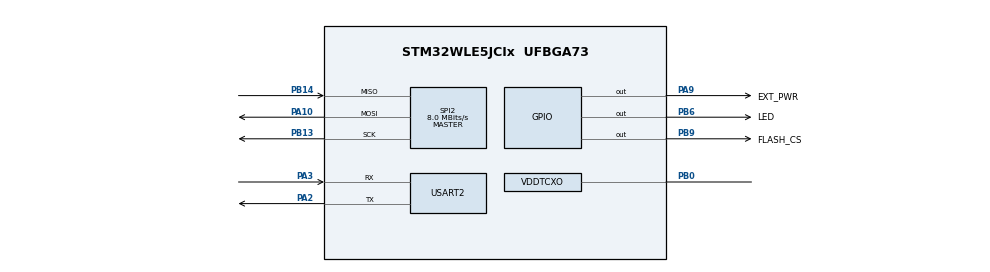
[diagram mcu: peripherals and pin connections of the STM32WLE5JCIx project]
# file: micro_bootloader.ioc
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Mcu.Family=STM32WL
Mcu.Name=STM32WLE5JCIx
Mcu.Package=UFBGA73
NVIC.PriorityGroup=NVIC_PRIORITYGROUP_4
NVIC.USART2_IRQn=true\:0\:0\:false\:false\:true\:true\:true\:true
OSC_IN.Mode=HSE-TCXO
OSC_IN.Signal=RCC_OSC_IN
PA10.GPIO_PuPd=GPIO_PULLUP
PA10.Mode=Full_Duplex_Master
PA10.Signal=SPI2_MOSI
PA13.Mode=Serial_Wire
PA13.Signal=DEBUG_JTMS-SWDIO
PA14.Mode=Serial_Wire
PA14.Signal=DEBUG_JTCK-SWCLK
PA2.Mode=Asynchronous
PA2.Signal=USART2_TX
PA3.Mode=Asynchronous
PA3.Signal=USART2_RX
PA9.GPIO_Label=EXT_PWR
PA9.Signal=GPIO_Output
PB0-VDD_TCXO.Mode=HSE-TCXO
PB0-VDD_TCXO.Signal=VDDTCXO
PB13.GPIO_PuPd=GPIO_PULLUP
PB13.Mode=Full_Duplex_Master
PB13.Signal=SPI2_SCK
PB14.GPIO_PuPd=GPIO_PULLUP
PB14.Mode=Full_Duplex_Master
PB14.Signal=SPI2_MISO
PB6.GPIO_Label=LED
PB6.Signal=GPIO_Output
PB9.GPIO_Label=FLASH_CS
PB9.Signal=GPIO_Output
PC14-OSC32_IN.Mode=LSE-External-Oscillator
PC14-OSC32_IN.Signal=RCC_OSC32_IN
PC15-OSC32_OUT.Mode=LSE-External-Oscillator
PC15-OSC32_OUT.Signal=RCC_OSC32_OUT
ProjectManager.HeapSize=0x200
ProjectManager.StackSize=0x400
ProjectManager.TargetToolchain=STM32CubeIDE
RCC.AHBFreq_Value=48000000
RCC.APB1Freq_Value=48000000
RCC.APB1TimFreq_Value=48000000
RCC.APB2Freq_Value=48000000
RCC.APB2TimFreq_Value=48000000
RCC.APB3Freq_Value=48000000
RCC.CortexFreq_Value=48000000
RCC.HCLKFreq_Value=48000000
RCC.HSE_VALUE=8000000
RCC.HSI_VALUE=16000000
RCC.LSE_VALUE=32768
RCC.MSIClockRange=RCC_MSIRANGE_11
RCC.SYSCLKFreq_VALUE=48000000
RCC.VCOOutputFreq_Value=384000000
RTC.Alarm-Alarm\ A=RTC_ALARM_A
SPI2.CalculateBaudRate=8.0 MBits/s
SPI2.DataSize=SPI_DATASIZE_8BIT
SPI2.Direction=SPI_DIRECTION_2LINES
SPI2.Mode=SPI_MODE_MASTER
SPI2.NSSPMode=SPI_NSS_PULSE_DISABLE
SPI2.VirtualType=VM_MASTER
USART2.VirtualMode-Asynchronous=VM_ASYNC
VP_RTC_VS_RTC_Activate.Mode=RTC_Enabled
VP_RTC_VS_RTC_Alarm_A_Intern.Mode=Alarm A
VP_RTC_VS_RTC_Calendar.Mode=RTC_Calendar
board=custom

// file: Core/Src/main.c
/* USER CODE BEGIN Header */
/**
 ******************************************************************************
 * @file           : main.c
 * @brief          : Main program body
 ******************************************************************************
 * @attention
 *
 * Copyright (c) 2023 STMicroelectronics.
 * All rights reserved.
 *
 * This software is licensed under terms that can be found in the LICENSE file
 * in the root directory of this software component.
 * If no LICENSE file comes with this software, it is provided AS-IS.
 *
 ******************************************************************************
 */
/* USER CODE END Header */
#include "main.h"

/* USER CODE BEGIN Includes */
#include <string.h>
#include "bootloader/boot.h"
#include "drivers/flash/internal/stm32wlxx_flash_driver.h"
#include "drivers/flash/external/w25q80dv_flash_driver.h"
#include "drivers/mcu/arm/stm32wlxx_mcu_driver.h"
#include "debug.h"
#include "error.h"

/* USER CODE END Includes */

RTC_HandleTypeDef hrtc;

SPI_HandleTypeDef hspi2;

UART_HandleTypeDef huart2;

/* USER CODE BEGIN PV */
bool_t ledState = FALSE;
systime_t ledDelay = 0;
systime_t ledTimestamp = 0;
BootSettings bootSettings;
BootContext bootContext;
/* USER CODE END PV */

void SystemClock_Config(void);
static void MX_GPIO_Init(void);
static void MX_USART2_UART_Init(void);
static void MX_RTC_Init(void);
static void MX_SPI2_Init(void);
/* USER CODE BEGIN PFP */
void ledTask(void);
int __io_putchar(int ch);
/* USER CODE END PFP */

/* USER CODE BEGIN 0 */

int __io_putchar(int ch) {
	uint8_t c;

	c = (uint8_t) ch;

	if (HAL_UART_Transmit(&huart2, &c, 1, 100) == HAL_OK)
		return ch;
	else
		return -1;
	return -1;
}

/**
 * @brief Led task routine (for debug purpose)
 **/

void ledTask(void) {
	if ((uint32_t) (systemTicks - ledTimestamp) >= ledDelay) {
		//Toggle LED state
		if (ledState == 0) {
			HAL_GPIO_WritePin(LED_GPIO_Port, LED_Pin, GPIO_PIN_SET);
			ledState = 1;
			ledDelay = 100;
		} else {
			HAL_GPIO_WritePin(LED_GPIO_Port, LED_Pin, GPIO_PIN_RESET);
			ledState = 0;
			ledDelay = 900;
		}

		ledTimestamp = systemTicks;
	}
}

/* USER CODE END 0 */

int main(void) {
	/* USER CODE BEGIN 1 */
	error_t error;
	/* USER CODE END 1 */

	/* MCU Configuration--------------------------------------------------------*/

	/* Reset of all peripherals, Initializes the Flash interface and the Systick. */
	HAL_Init();

	/* Configure the system clock */
	SystemClock_Config();

	/* Initialize all configured peripherals */
	MX_GPIO_Init();
	MX_USART2_UART_Init();
	MX_RTC_Init();
	MX_SPI2_Init();
	/* USER CODE BEGIN 2 */

	//Start-up message
//	TRACE_INFO("\r\n");
//	TRACE_INFO("*****************************\r\n");
//	TRACE_INFO("*** Micro Bootloader Demo ***\r\n");
//	TRACE_INFO("*****************************\r\n");
//	TRACE_INFO("Copyright: 2010-2021 Oryx Embedded SARL\r\n");
//	TRACE_INFO("Compiled: %s %s\r\n", __DATE__, __TIME__);
//	TRACE_INFO("Target: STM32F769\r\n");
//	TRACE_INFO("\r\n");

    //Get default booloader user settings
    bootGetDefaultSettings(&bootSettings);

    //Set bootloader user settings
    bootSettings.prmFlashDrv = &stm32wlxxFlashDriver;
    bootSettings.sndFlashDrv = &w25q80dvFlashDriver;
    bootSettings.prmFlashSlotAddr = 0x08008000;
    bootSettings.prmFlashSlotSize = 0x38000;
    bootSettings.sndFlashSlot1Addr = 0x00000000;
    bootSettings.sndFlashSlot1Size = 0x40000;

    //Initialize bootloader
    error = bootInit(&bootContext, &bootSettings);
    //Is any error?
    if(error)
    {
    	TRACE_ERROR("Bootloader configuration failed!\r\n");
    	while(1);
    }

	/* USER CODE END 2 */

	/* Infinite loop */
	while (1) {
		ledTask();
		error = bootTask(&bootContext);
		//Is any error?
		if(error)
		{
			//Debug message
			TRACE_ERROR("Bootloader failure!\r\n");
			break;
		}
	}
}

void SystemClock_Config(void) {
	RCC_OscInitTypeDef RCC_OscInitStruct = { 0 };
	RCC_ClkInitTypeDef RCC_ClkInitStruct = { 0 };

	/** Configure LSE Drive Capability
	 */
	HAL_PWR_EnableBkUpAccess();
	__HAL_RCC_LSEDRIVE_CONFIG(RCC_LSEDRIVE_LOW);

	/** Configure the main internal regulator output voltage
	 */
	__HAL_PWR_VOLTAGESCALING_CONFIG(PWR_REGULATOR_VOLTAGE_SCALE1);

	/** Initializes the CPU, AHB and APB buses clocks
	 */
	RCC_OscInitStruct.OscillatorType = RCC_OSCILLATORTYPE_HSI
			| RCC_OSCILLATORTYPE_LSI | RCC_OSCILLATORTYPE_LSE
			| RCC_OSCILLATORTYPE_MSI;
	RCC_OscInitStruct.LSEState = RCC_LSE_ON;
	RCC_OscInitStruct.HSIState = RCC_HSI_ON;
	RCC_OscInitStruct.MSIState = RCC_MSI_ON;
	RCC_OscInitStruct.HSICalibrationValue = RCC_HSICALIBRATION_DEFAULT;
	RCC_OscInitStruct.MSICalibrationValue = RCC_MSICALIBRATION_DEFAULT;
	RCC_OscInitStruct.MSIClockRange = RCC_MSIRANGE_11;
	RCC_OscInitStruct.LSIDiv = RCC_LSI_DIV1;
	RCC_OscInitStruct.LSIState = RCC_LSI_ON;
	RCC_OscInitStruct.PLL.PLLState = RCC_PLL_NONE;
	if (HAL_RCC_OscConfig(&RCC_OscInitStruct) != HAL_OK) {
		Error_Handler();
	}

	/** Configure the SYSCLKSource, HCLK, PCLK1 and PCLK2 clocks dividers
	 */
	RCC_ClkInitStruct.ClockType = RCC_CLOCKTYPE_HCLK3 | RCC_CLOCKTYPE_HCLK
			| RCC_CLOCKTYPE_SYSCLK | RCC_CLOCKTYPE_PCLK1 | RCC_CLOCKTYPE_PCLK2;
	RCC_ClkInitStruct.SYSCLKSource = RCC_SYSCLKSOURCE_MSI;
	RCC_ClkInitStruct.AHBCLKDivider = RCC_SYSCLK_DIV1;
	RCC_ClkInitStruct.APB1CLKDivider = RCC_HCLK_DIV1;
	RCC_ClkInitStruct.APB2CLKDivider = RCC_HCLK_DIV1;
	RCC_ClkInitStruct.AHBCLK3Divider = RCC_SYSCLK_DIV1;

	if (HAL_RCC_ClockConfig(&RCC_ClkInitStruct, FLASH_LATENCY_2) != HAL_OK) {
		Error_Handler();
	}
}

static void MX_RTC_Init(void) {

	RTC_TimeTypeDef sTime = { 0 };
	RTC_DateTypeDef sDate = { 0 };
	RTC_AlarmTypeDef sAlarm = { 0 };

	/** Initialize RTC Only
	 */
	hrtc.Instance = RTC;
	hrtc.Init.HourFormat = RTC_HOURFORMAT_24;
	hrtc.Init.AsynchPrediv = 127;
	hrtc.Init.SynchPrediv = 255;
	hrtc.Init.OutPut = RTC_OUTPUT_DISABLE;
	hrtc.Init.OutPutRemap = RTC_OUTPUT_REMAP_NONE;
	hrtc.Init.OutPutPolarity = RTC_OUTPUT_POLARITY_HIGH;
	hrtc.Init.OutPutType = RTC_OUTPUT_TYPE_OPENDRAIN;
	hrtc.Init.OutPutPullUp = RTC_OUTPUT_PULLUP_NONE;
	hrtc.Init.BinMode = RTC_BINARY_NONE;
	if (HAL_RTC_Init(&hrtc) != HAL_OK) {
		Error_Handler();
	}

	/** Initialize RTC and set the Time and Date
	 */
	sTime.Hours = 0x0;
	sTime.Minutes = 0x0;
	sTime.Seconds = 0x0;
	sTime.DayLightSaving = RTC_DAYLIGHTSAVING_NONE;
	sTime.StoreOperation = RTC_STOREOPERATION_RESET;
	if (HAL_RTC_SetTime(&hrtc, &sTime, RTC_FORMAT_BCD) != HAL_OK) {
		Error_Handler();
	}
	sDate.WeekDay = RTC_WEEKDAY_MONDAY;
	sDate.Month = RTC_MONTH_JANUARY;
	sDate.Date = 0x1;
	sDate.Year = 0x0;

	if (HAL_RTC_SetDate(&hrtc, &sDate, RTC_FORMAT_BCD) != HAL_OK) {
		Error_Handler();
	}

	/** Enable the Alarm A
	 */
	sAlarm.AlarmTime.Hours = 0x0;
	sAlarm.AlarmTime.Minutes = 0x0;
	sAlarm.AlarmTime.Seconds = 0x0;
	sAlarm.AlarmTime.SubSeconds = 0x0;
	sAlarm.AlarmTime.DayLightSaving = RTC_DAYLIGHTSAVING_NONE;
	sAlarm.AlarmTime.StoreOperation = RTC_STOREOPERATION_RESET;
	sAlarm.AlarmMask = RTC_ALARMMASK_NONE;
	sAlarm.AlarmSubSecondMask = RTC_ALARMSUBSECONDMASK_ALL;
	sAlarm.AlarmDateWeekDaySel = RTC_ALARMDATEWEEKDAYSEL_DATE;
	sAlarm.AlarmDateWeekDay = 0x1;
	sAlarm.Alarm = RTC_ALARM_A;
	if (HAL_RTC_SetAlarm(&hrtc, &sAlarm, RTC_FORMAT_BCD) != HAL_OK) {
		Error_Handler();
	}

}

static void MX_SPI2_Init(void) {

	/* SPI2 parameter configuration*/
	hspi2.Instance = SPI2;
	hspi2.Init.Mode = SPI_MODE_MASTER;
	hspi2.Init.Direction = SPI_DIRECTION_2LINES;
	hspi2.Init.DataSize = SPI_DATASIZE_8BIT;
	hspi2.Init.CLKPolarity = SPI_POLARITY_LOW;
	hspi2.Init.CLKPhase = SPI_PHASE_1EDGE;
	hspi2.Init.NSS = SPI_NSS_SOFT;
	hspi2.Init.BaudRatePrescaler = SPI_BAUDRATEPRESCALER_2;
	hspi2.Init.FirstBit = SPI_FIRSTBIT_MSB;
	hspi2.Init.TIMode = SPI_TIMODE_DISABLE;
	hspi2.Init.CRCCalculation = SPI_CRCCALCULATION_DISABLE;
	hspi2.Init.CRCPolynomial = 7;
	hspi2.Init.CRCLength = SPI_CRC_LENGTH_DATASIZE;
	hspi2.Init.NSSPMode = SPI_NSS_PULSE_DISABLE;
	if (HAL_SPI_Init(&hspi2) != HAL_OK) {
		Error_Handler();
	}

}

static void MX_USART2_UART_Init(void) {

	huart2.Instance = USART2;
	huart2.Init.BaudRate = 115200;
	huart2.Init.WordLength = UART_WORDLENGTH_8B;
	huart2.Init.StopBits = UART_STOPBITS_1;
	huart2.Init.Parity = UART_PARITY_NONE;
	huart2.Init.Mode = UART_MODE_TX_RX;
	huart2.Init.HwFlowCtl = UART_HWCONTROL_NONE;
	huart2.Init.OverSampling = UART_OVERSAMPLING_16;
	huart2.Init.OneBitSampling = UART_ONE_BIT_SAMPLE_DISABLE;
	huart2.Init.ClockPrescaler = UART_PRESCALER_DIV1;
	huart2.AdvancedInit.AdvFeatureInit = UART_ADVFEATURE_NO_INIT;
	if (HAL_UART_Init(&huart2) != HAL_OK) {
		Error_Handler();
	}
	if (HAL_UARTEx_SetTxFifoThreshold(&huart2, UART_TXFIFO_THRESHOLD_1_8)
			!= HAL_OK) {
		Error_Handler();
	}
	if (HAL_UARTEx_SetRxFifoThreshold(&huart2, UART_RXFIFO_THRESHOLD_1_8)
			!= HAL_OK) {
		Error_Handler();
	}
	if (HAL_UARTEx_DisableFifoMode(&huart2) != HAL_OK) {
		Error_Handler();
	}

}

static void MX_GPIO_Init(void) {
	GPIO_InitTypeDef GPIO_InitStruct = { 0 };

	/* GPIO Ports Clock Enable */
	__HAL_RCC_GPIOA_CLK_ENABLE();
	__HAL_RCC_GPIOC_CLK_ENABLE();
	__HAL_RCC_GPIOB_CLK_ENABLE();

	/*Configure GPIO pin Output Level */
	HAL_GPIO_WritePin(GPIOB, FLASH_CS_Pin | LED_Pin, GPIO_PIN_RESET);

	/*Configure GPIO pin Output Level */
	HAL_GPIO_WritePin(EXT_PWR_GPIO_Port, EXT_PWR_Pin, GPIO_PIN_RESET);

	/*Configure GPIO pins : FLASH_CS_Pin LED_Pin */
	GPIO_InitStruct.Pin = FLASH_CS_Pin | LED_Pin;
	GPIO_InitStruct.Mode = GPIO_MODE_OUTPUT_PP;
	GPIO_InitStruct.Pull = GPIO_NOPULL;
	GPIO_InitStruct.Speed = GPIO_SPEED_FREQ_LOW;
	HAL_GPIO_Init(GPIOB, &GPIO_InitStruct);

	/*Configure GPIO pin : EXT_PWR_Pin */
	GPIO_InitStruct.Pin = EXT_PWR_Pin;
	GPIO_InitStruct.Mode = GPIO_MODE_OUTPUT_PP;
	GPIO_InitStruct.Pull = GPIO_NOPULL;
	GPIO_InitStruct.Speed = GPIO_SPEED_FREQ_LOW;
	HAL_GPIO_Init(EXT_PWR_GPIO_Port, &GPIO_InitStruct);

}

/* USER CODE BEGIN 4 */
void rTosDelay(uint32_t Delay) {
	osDelayTask(Delay);
}

UART_HandleTypeDef* Get_DebugHandle(void) {
	return &huart2;
}

RTC_HandleTypeDef* Get_RtcHandle(void) {
	return &hrtc;
}

SPI_HandleTypeDef* Get_SpiHandle(void) {
	return &hspi2;
}

/* USER CODE END 4 */

void Error_Handler(void) {
	__disable_irq();
	while (1) {
	}
}
